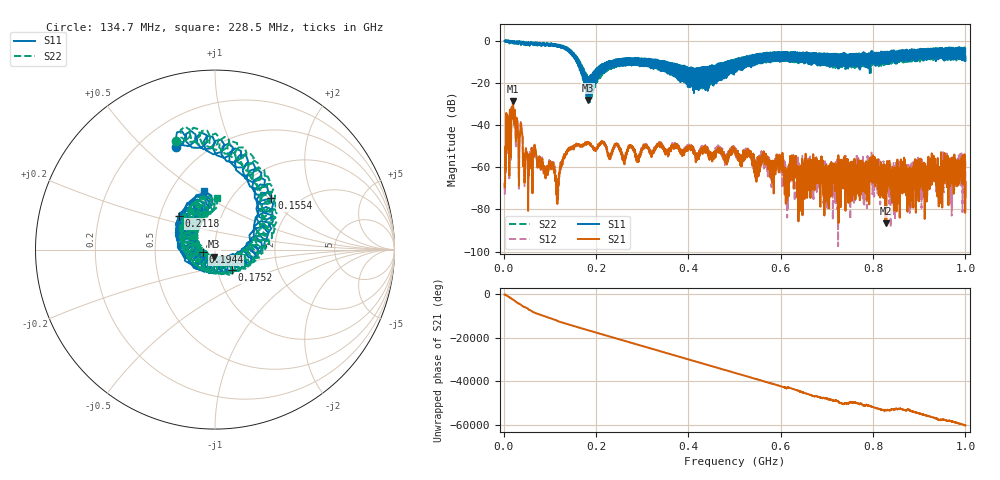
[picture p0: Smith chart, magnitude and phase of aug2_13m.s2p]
!Keysight Technologies N9923A: A.12.45
!Date: Saturday, 02 August 2025 18:59:51
!Timezone: (UTC+08:00) Kuala Lumpur, Singapore
!Model: N9923A
!Serial: MY61181427
!GPS Latitude:
!GPS Longitude:
!GPS TimeStamp: 0001-01-01 00:00:00Z
!GPS Seconds Since Last Read: 0
!CHECKSUM:1877178756
!Correction: S11(ON U)S21(ON U)S12(ON U)S22(ON U)
!S2P File: Measurements:S11,S21,S12,S22:
# Hz S DB R 50
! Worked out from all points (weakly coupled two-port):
!   4001 points, 2 MHz to 1 GHz, reference 50 ohm
!   highest |S21| = -28.52 dB at 19.96 MHz (marker M1); lowest = -86.6 dB at 828.6 MHz (marker M2)
!   lowest |S11| = -28.1 dB at 182.9 MHz (marker M3), VSWR 1.08, Z = 49.4 - j3.87 ohm
!   |S11| at or under -10 dB: 162.6 MHz to 225.3 MHz (62.74 MHz wide, 32.4 % of centre); 339.4797 MHz to 340.8603 MHz (1.381 MHz wide, 0.406 % of centre); 351.1 MHz to 484.7 MHz (133.6 MHz wide, 32 % of centre) (the widest 3 of 246)
!   |S22| runs from -29.2 to 0.1 dB; largest |S21 - S12| = 0.0064
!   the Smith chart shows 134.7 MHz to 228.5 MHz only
!   S11 on the Smith chart (normalised r, x): 134.7 MHz: 0.34, +0.63; 155.4 MHz: 1.48, +1.04; 175.2 MHz: 1.17, -0.27; 194.4 MHz: 0.87, -0.03; 211.8 MHz: 0.63, +0.25; 228.5 MHz: 0.72, +0.53
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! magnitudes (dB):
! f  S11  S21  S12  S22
! 2 MHz  -0.1  -67.6  -67.7  -0.1
! 9.735 MHz  -0.1  -42.0  -42.0  -0.1
! 19.96 MHz  -0.4  -28.5  -29.4  -0.4
! 49.65 MHz  -1.5  -54.6  -53.7  -1.0
! 115.8 MHz  -2.1  -71.7  -74.8  -1.8
! 134.7 MHz  -4.2  -53.5  -53.5  -3.9
! 155.4 MHz  -7.4  -49.4  -49.4  -7.5
! 168.4 MHz  -14.4  -49.7  -49.4  -14.6
! 175.2 MHz  -16.6  -48.8  -49.2  -18.3
! 182.9 MHz  -28.1  -48.7  -48.7  -22.8
! 194.4 MHz  -23.3  -51.3  -51.5  -21.4
! 211.8 MHz  -11.3  -48.6  -48.3  -12.6
! 228.5 MHz  -9.6  -55.1  -55.5  -10.9
! 334.8 MHz  -11.7  -49.2  -48.9  -10.0
! 501 MHz  -12.4  -52.0  -52.6  -13.1
! 596.1 MHz  -8.5  -55.1  -55.7  -5.4
! 613.5 MHz  -6.9  -65.8  -71.1  -9.0
! 667.4 MHz  -6.9  -58.9  -66.9  -10.1
! 828.6 MHz  -9.1  -86.6  -61.7  -6.0
! 833.8 MHz  -6.9  -62.6  -70.7  -7.7
! 993.5 MHz  -5.0  -60.4  -55.3  -4.5
! 1 GHz  -7.4  -74.1  -56.2  -3.3
